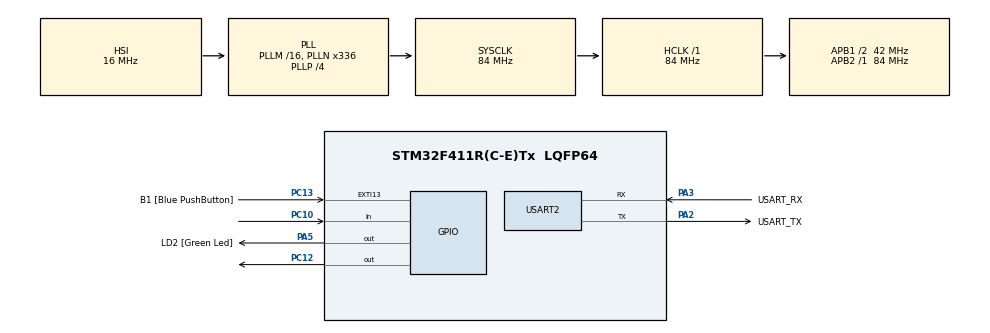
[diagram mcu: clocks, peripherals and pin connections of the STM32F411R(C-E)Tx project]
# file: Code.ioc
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Mcu.Family=STM32F4
Mcu.Name=STM32F411R(C-E)Tx
Mcu.Package=LQFP64
NVIC.PriorityGroup=NVIC_PRIORITYGROUP_0
PA13.GPIO_Label=TMS
PA13.Mode=Serial_Wire
PA13.Signal=SYS_JTMS-SWDIO
PA14.GPIO_Label=TCK
PA14.Mode=Serial_Wire
PA14.Signal=SYS_JTCK-SWCLK
PA2.GPIO_Label=USART_TX
PA2.Mode=Asynchronous
PA2.Signal=USART2_TX
PA3.GPIO_Label=USART_RX
PA3.Mode=Asynchronous
PA3.Signal=USART2_RX
PA5.GPIO_Label=LD2 [Green Led]
PA5.Signal=GPIO_Output
PB3.GPIO_Label=SWO
PB3.Signal=SYS_JTDO-SWO
PC10.Signal=GPIO_Input
PC12.Signal=GPIO_Output
PC13-ANTI_TAMP.GPIO_Label=B1 [Blue PushButton]
PC13-ANTI_TAMP.GPIO_ModeDefaultEXTI=GPIO_MODE_IT_FALLING
PC13-ANTI_TAMP.Signal=GPXTI13
PC14-OSC32_IN.Mode=LSE-External-Oscillator
PC14-OSC32_IN.Signal=RCC_OSC32_IN
PC15-OSC32_OUT.Mode=LSE-External-Oscillator
PC15-OSC32_OUT.Signal=RCC_OSC32_OUT
PH0\ -\ OSC_IN.Mode=HSE-External-Clock-Source
PH0\ -\ OSC_IN.Signal=RCC_OSC_IN
PH1\ -\ OSC_OUT.Mode=HSE-External-Clock-Source
PH1\ -\ OSC_OUT.Signal=RCC_OSC_OUT
ProjectManager.HeapSize=0x200
ProjectManager.StackSize=0x400
ProjectManager.TargetToolchain=STM32CubeIDE
RCC.48MHZClocksFreq_Value=84000000
RCC.AHBFreq_Value=84000000
RCC.APB1CLKDivider=RCC_HCLK_DIV2
RCC.APB1Freq_Value=42000000
RCC.APB1TimFreq_Value=84000000
RCC.APB2Freq_Value=84000000
RCC.APB2TimFreq_Value=84000000
RCC.CortexFreq_Value=84000000
RCC.FLatency-AdvancedSettings=FLASH_LATENCY_2
RCC.HCLKFreq_Value=84000000
RCC.HSE_VALUE=8000000
RCC.HSI_VALUE=16000000
RCC.PLLN=336
RCC.PLLP=RCC_PLLP_DIV4
RCC.SYSCLKFreq_VALUE=84000000
RCC.SYSCLKSource=RCC_SYSCLKSOURCE_PLLCLK
RCC.VCOOutputFreq_Value=336000000
USART2.VirtualMode=VM_ASYNC
board=NUCLEO-F411RE

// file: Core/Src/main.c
/* USER CODE BEGIN Header */
/**
  ******************************************************************************
  * @file           : main.c
  * @brief          : Main program body
  ******************************************************************************
  * @attention
  *
  * Copyright (c) 2023 STMicroelectronics.
  * All rights reserved.
  *
  * This software is licensed under terms that can be found in the LICENSE file
  * in the root directory of this software component.
  * If no LICENSE file comes with this software, it is provided AS-IS.
  *
  ******************************************************************************
  */
/* USER CODE END Header */
#include "main.h"

UART_HandleTypeDef huart2;

/* USER CODE BEGIN PV */
typedef struct{
	GPIO_PinState current;
	GPIO_PinState last;
}GPIOstate;

GPIOstate B1 = {1,0};
uint32_t mode = 500;
/* USER CODE END PV */

void SystemClock_Config(void);
static void MX_GPIO_Init(void);
static void MX_USART2_UART_Init(void);

int main(void)
{

  /* MCU Configuration--------------------------------------------------------*/

  /* Reset of all peripherals, Initializes the Flash interface and the Systick. */
  HAL_Init();

  /* Configure the system clock */
  SystemClock_Config();

  /* Initialize all configured peripherals */
  MX_GPIO_Init();
  MX_USART2_UART_Init();

  /* Infinite loop */
  while (1)
  {

    /* USER CODE BEGIN 3 */
	  //-------------------------LED CHANGE WITH BOTTON------------------------------------
/*
			  //READ PC13 && Call it B1
			  GPIO_PinState B1 = HAL_GPIO_ReadPin(GPIOC, GPIO_PIN_13);
	  	  	  //Write B1 to PA5
	  		  HAL_GPIO_WritePin(GPIOA, GPIO_PIN_5, B1);
*/
	  //--------------------------PUSH to CHANGE-----------------------------
/* 			  //Keep PC13 to GPIO B1
		  B1.current = HAL_GPIO_ReadPin(GPIOC, GPIO_PIN_13);
		  if(B1.last == 1 && B1.current == 0){
			  //Toggle switch
			  HAL_GPIO_TogglePin(GPIOA, GPIO_PIN_5);
		  }
		   //SAVE current B1 to last B1 before next time
		  B1.last = B1.current;
*/
	  //--------------------------TICK EVERY 1 s----------------------------------
/*
	  //Blink with HAL_GetTick()
	  static uint32_t timestamp = 0; // can't change in program it will not reset
	  //check time
	  if(timestamp <= HAL_GetTick()){
		  timestamp = HAL_GetTick() + 500; // ms
		  //SWITCH LED
		  HAL_GPIO_TogglePin(GPIOA, GPIO_PIN_5);
	  }
*/
	  //--------------------------PUSH TO CHANGE TICK ----------------------------------

	  static uint32_t timestamp = 0;

	  B1.current = HAL_GPIO_ReadPin(GPIOC, GPIO_PIN_10);
	  if(B1.last == 1 && B1.current == 0){
		  if(mode == 500){
			  mode = 250;
		  }
		  else if(mode == 250){
			  mode = 500;
		  }
	  }
	  B1.last = B1.current;
		  if(timestamp <= HAL_GetTick()){
		  		  timestamp = HAL_GetTick() + mode; // ms
		  		  //SWITCH LED
		  		  HAL_GPIO_TogglePin(GPIOC, GPIO_PIN_12);
		  	  }

	  //------------------------------------------------------------

  }
  /* USER CODE END 3 */
}

void SystemClock_Config(void)
{
  RCC_OscInitTypeDef RCC_OscInitStruct = {0};
  RCC_ClkInitTypeDef RCC_ClkInitStruct = {0};

  /** Configure the main internal regulator output voltage
  */
  __HAL_RCC_PWR_CLK_ENABLE();
  __HAL_PWR_VOLTAGESCALING_CONFIG(PWR_REGULATOR_VOLTAGE_SCALE1);

  /** Initializes the RCC Oscillators according to the specified parameters
  * in the RCC_OscInitTypeDef structure.
  */
  RCC_OscInitStruct.OscillatorType = RCC_OSCILLATORTYPE_HSI;
  RCC_OscInitStruct.HSIState = RCC_HSI_ON;
  RCC_OscInitStruct.HSICalibrationValue = RCC_HSICALIBRATION_DEFAULT;
  RCC_OscInitStruct.PLL.PLLState = RCC_PLL_ON;
  RCC_OscInitStruct.PLL.PLLSource = RCC_PLLSOURCE_HSI;
  RCC_OscInitStruct.PLL.PLLM = 16;
  RCC_OscInitStruct.PLL.PLLN = 336;
  RCC_OscInitStruct.PLL.PLLP = RCC_PLLP_DIV4;
  RCC_OscInitStruct.PLL.PLLQ = 4;
  if (HAL_RCC_OscConfig(&RCC_OscInitStruct) != HAL_OK)
  {
    Error_Handler();
  }

  /** Initializes the CPU, AHB and APB buses clocks
  */
  RCC_ClkInitStruct.ClockType = RCC_CLOCKTYPE_HCLK|RCC_CLOCKTYPE_SYSCLK
                              |RCC_CLOCKTYPE_PCLK1|RCC_CLOCKTYPE_PCLK2;
  RCC_ClkInitStruct.SYSCLKSource = RCC_SYSCLKSOURCE_PLLCLK;
  RCC_ClkInitStruct.AHBCLKDivider = RCC_SYSCLK_DIV1;
  RCC_ClkInitStruct.APB1CLKDivider = RCC_HCLK_DIV2;
  RCC_ClkInitStruct.APB2CLKDivider = RCC_HCLK_DIV1;

  if (HAL_RCC_ClockConfig(&RCC_ClkInitStruct, FLASH_LATENCY_2) != HAL_OK)
  {
    Error_Handler();
  }
}

static void MX_USART2_UART_Init(void)
{

  huart2.Instance = USART2;
  huart2.Init.BaudRate = 115200;
  huart2.Init.WordLength = UART_WORDLENGTH_8B;
  huart2.Init.StopBits = UART_STOPBITS_1;
  huart2.Init.Parity = UART_PARITY_NONE;
  huart2.Init.Mode = UART_MODE_TX_RX;
  huart2.Init.HwFlowCtl = UART_HWCONTROL_NONE;
  huart2.Init.OverSampling = UART_OVERSAMPLING_16;
  if (HAL_UART_Init(&huart2) != HAL_OK)
  {
    Error_Handler();
  }

}

static void MX_GPIO_Init(void)
{
  GPIO_InitTypeDef GPIO_InitStruct = {0};

  /* GPIO Ports Clock Enable */
  __HAL_RCC_GPIOC_CLK_ENABLE();
  __HAL_RCC_GPIOH_CLK_ENABLE();
  __HAL_RCC_GPIOA_CLK_ENABLE();
  __HAL_RCC_GPIOB_CLK_ENABLE();

  /*Configure GPIO pin Output Level */
  HAL_GPIO_WritePin(LD2_GPIO_Port, LD2_Pin, GPIO_PIN_RESET);

  /*Configure GPIO pin Output Level */
  HAL_GPIO_WritePin(GPIOC, GPIO_PIN_12, GPIO_PIN_RESET);

  /*Configure GPIO pin : B1_Pin */
  GPIO_InitStruct.Pin = B1_Pin;
  GPIO_InitStruct.Mode = GPIO_MODE_IT_FALLING;
  GPIO_InitStruct.Pull = GPIO_NOPULL;
  HAL_GPIO_Init(B1_GPIO_Port, &GPIO_InitStruct);

  /*Configure GPIO pin : LD2_Pin */
  GPIO_InitStruct.Pin = LD2_Pin;
  GPIO_InitStruct.Mode = GPIO_MODE_OUTPUT_PP;
  GPIO_InitStruct.Pull = GPIO_NOPULL;
  GPIO_InitStruct.Speed = GPIO_SPEED_FREQ_LOW;
  HAL_GPIO_Init(LD2_GPIO_Port, &GPIO_InitStruct);

  /*Configure GPIO pin : PC10 */
  GPIO_InitStruct.Pin = GPIO_PIN_10;
  GPIO_InitStruct.Mode = GPIO_MODE_INPUT;
  GPIO_InitStruct.Pull = GPIO_NOPULL;
  HAL_GPIO_Init(GPIOC, &GPIO_InitStruct);

  /*Configure GPIO pin : PC12 */
  GPIO_InitStruct.Pin = GPIO_PIN_12;
  GPIO_InitStruct.Mode = GPIO_MODE_OUTPUT_PP;
  GPIO_InitStruct.Pull = GPIO_NOPULL;
  GPIO_InitStruct.Speed = GPIO_SPEED_FREQ_LOW;
  HAL_GPIO_Init(GPIOC, &GPIO_InitStruct);

}

void Error_Handler(void)
{
  __disable_irq();
  while (1)
  {
  }
}
